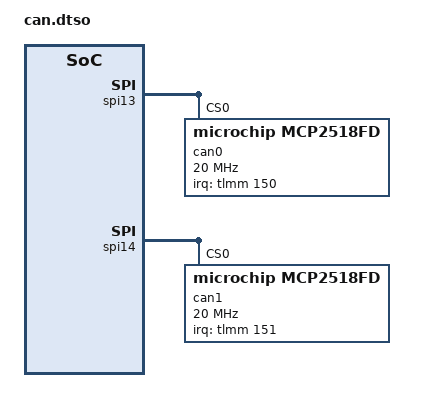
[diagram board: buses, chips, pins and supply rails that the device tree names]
/dts-v1/;
/plugin/;

#include <dt-bindings/interrupt-controller/irq.h>
#include <dt-bindings/gpio/gpio.h>

&tlmm {
	aom_can0_irq: aom-can0-irq-state {
		pins = "gpio150";
		function = "gpio";
		drive-strength = <2>;
		bias-pull-up;
	};

	aom_can1_irq: aom-can1-irq-state {
		pins = "gpio151";
		function = "gpio";
		drive-strength = <2>;
		bias-pull-up;
	};
};

&spi13 {
	status = "okay";

	can0: can@0 {
		compatible = "microchip,mcp2518fd";
		reg = <0>;
		clocks = <&mcp2518fd_osc>;
		spi-max-frequency = <20000000>;
		status = "okay";

		pinctrl-names = "default";
		interrupts-extended = <&tlmm 150 IRQ_TYPE_LEVEL_LOW>;
		pinctrl-0 = <&aom_can0_irq>;
	};
};

&spi14 {
	status = "okay";

	can1: can@0 {
		compatible = "microchip,mcp2518fd";
		reg = <0>;
		clocks = <&mcp2518fd_osc>;
		spi-max-frequency = <20000000>;
		status = "okay";

		pinctrl-names = "default";
		interrupts-extended = <&tlmm 151 IRQ_TYPE_LEVEL_LOW>;
		pinctrl-0 = <&aom_can1_irq>;
	};
};
